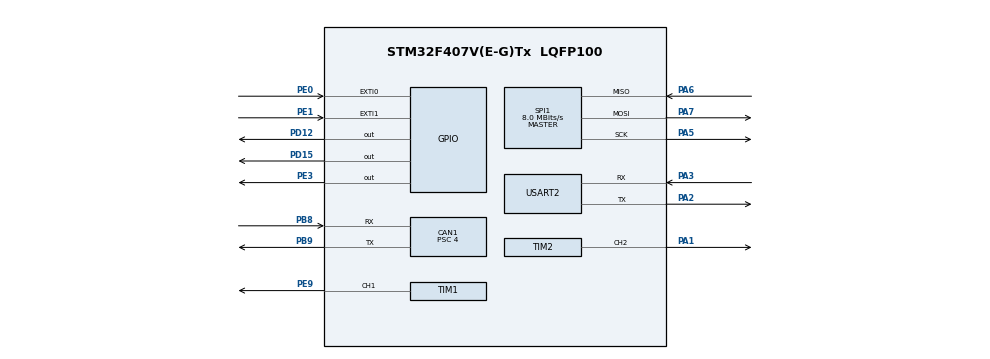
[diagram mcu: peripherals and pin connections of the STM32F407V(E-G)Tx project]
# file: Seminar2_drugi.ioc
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CAN1.BS1=CAN_BS1_13TQ
CAN1.BS2=CAN_BS2_2TQ
CAN1.CalculateBaudRate=500000
CAN1.CalculateTimeBit=2000
CAN1.CalculateTimeQuantum=125.0
CAN1.NART=ENABLE
CAN1.Prescaler=4
Dma.Request0=TIM1_CH1
Dma.TIM1_CH1.0.Direction=DMA_MEMORY_TO_PERIPH
Dma.TIM1_CH1.0.FIFOMode=DMA_FIFOMODE_DISABLE
Dma.TIM1_CH1.0.Instance=DMA2_Stream1
Dma.TIM1_CH1.0.MemDataAlignment=DMA_MDATAALIGN_HALFWORD
Dma.TIM1_CH1.0.MemInc=DMA_MINC_ENABLE
Dma.TIM1_CH1.0.Mode=DMA_NORMAL
Dma.TIM1_CH1.0.PeriphDataAlignment=DMA_PDATAALIGN_HALFWORD
Dma.TIM1_CH1.0.PeriphInc=DMA_PINC_DISABLE
Dma.TIM1_CH1.0.Priority=DMA_PRIORITY_LOW
Mcu.Family=STM32F4
Mcu.Name=STM32F407V(E-G)Tx
Mcu.Package=LQFP100
NVIC.CAN1_RX0_IRQn=true\:0\:0\:false\:false\:true\:true\:true\:true
NVIC.CAN1_RX1_IRQn=true\:0\:0\:false\:false\:true\:true\:true\:true
NVIC.CAN1_TX_IRQn=true\:0\:0\:false\:false\:true\:true\:true\:true
NVIC.DMA2_Stream1_IRQn=true\:0\:0\:false\:false\:true\:false\:true\:true
NVIC.EXTI0_IRQn=true\:0\:0\:false\:false\:true\:true\:true\:true
NVIC.EXTI1_IRQn=true\:0\:0\:false\:false\:true\:true\:true\:true
NVIC.PriorityGroup=NVIC_PRIORITYGROUP_0
PA1.Signal=S_TIM2_CH2
PA2.Mode=Asynchronous
PA2.Signal=USART2_TX
PA3.Mode=Asynchronous
PA3.Signal=USART2_RX
PA5.Mode=Full_Duplex_Master
PA5.Signal=SPI1_SCK
PA6.Mode=Full_Duplex_Master
PA6.Signal=SPI1_MISO
PA7.Mode=Full_Duplex_Master
PA7.Signal=SPI1_MOSI
PB8.Mode=CAN_Activate
PB8.Signal=CAN1_RX
PB9.Mode=CAN_Activate
PB9.Signal=CAN1_TX
PD12.Signal=GPIO_Output
PD15.Signal=GPIO_Output
PE0.Signal=GPXTI0
PE1.Signal=GPXTI1
PE3.Signal=GPIO_Output
PE9.Signal=S_TIM1_CH1
PH0-OSC_IN.Mode=HSE-External-Oscillator
PH0-OSC_IN.Signal=RCC_OSC_IN
PH1-OSC_OUT.Mode=HSE-External-Oscillator
PH1-OSC_OUT.Signal=RCC_OSC_OUT
ProjectManager.HeapSize=0x200
ProjectManager.StackSize=0x400
ProjectManager.TargetToolchain=STM32CubeIDE
RCC.48MHZClocksFreq_Value=18285714.285714287
RCC.AHBFreq_Value=64000000
RCC.APB1CLKDivider=RCC_HCLK_DIV2
RCC.APB1Freq_Value=32000000
RCC.APB1TimFreq_Value=64000000
RCC.APB2CLKDivider=RCC_HCLK_DIV4
RCC.APB2Freq_Value=16000000
RCC.APB2TimFreq_Value=32000000
RCC.CortexFreq_Value=64000000
RCC.HCLKFreq_Value=64000000
RCC.HSE_VALUE=8000000
RCC.HSI_VALUE=16000000
RCC.LSE_VALUE=32768
RCC.PLLM=4
RCC.PLLN=64
RCC.PLLQ=7
RCC.PLLSourceVirtual=RCC_PLLSOURCE_HSE
RCC.SYSCLKFreq_VALUE=64000000
RCC.SYSCLKSource=RCC_SYSCLKSOURCE_PLLCLK
RCC.VCOOutputFreq_Value=128000000
SH.S_TIM1_CH1.0=TIM1_CH1,PWM Generation1 CH1
SH.S_TIM2_CH2.0=TIM2_CH2,Output Compare2 CH2
SPI1.CalculateBaudRate=8.0 MBits/s
SPI1.Direction=SPI_DIRECTION_2LINES
SPI1.Mode=SPI_MODE_MASTER
SPI1.VirtualType=VM_MASTER
TIM1.Channel-PWM\ Generation1\ CH1=TIM_CHANNEL_1
TIM1.Period=1000-1
TIM1.Prescaler=640-1
TIM2.Channel-Output\ Compare2\ CH2=TIM_CHANNEL_2
TIM2.Period=100000-1
TIM2.Prescaler=640-1
USART2.VirtualMode=VM_ASYNC
VP_TIM1_VS_ClockSourceINT.Mode=Internal
VP_TIM2_VS_ClockSourceINT.Mode=Internal
board=STM32F407G-DISC1

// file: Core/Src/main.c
/* USER CODE BEGIN Header */
/**
 ******************************************************************************
 * @file           : main.c
 * @brief          : Main program body
 ******************************************************************************
 * @attention
 *
 * Copyright (c) 2024 STMicroelectronics.
 * All rights reserved.
 *
 * This software is licensed under terms that can be found in the LICENSE file
 * in the root directory of this software component.
 * If no LICENSE file comes with this software, it is provided AS-IS.
 *
 ******************************************************************************
 */
/* USER CODE END Header */
#include "main.h"
#include "poruke.h"
#include "spi_funkcije.h"
#include <stdio.h>

CAN_HandleTypeDef hcan1;

SPI_HandleTypeDef hspi1;

TIM_HandleTypeDef htim1;
TIM_HandleTypeDef htim2;
DMA_HandleTypeDef hdma_tim1_ch1;

UART_HandleTypeDef huart2;
uint32_t prim = 0;
/* USER CODE BEGIN PV */
CAN_RxHeaderTypeDef RxHeader;
CAN_TxHeaderTypeDef TxHeader1;
uint8_t txData[8];
uint8_t rxData[8];
uint8_t xData;
uint8_t yData;
uint8_t zData;
uint32_t TxMailbox[3];
/* USER CODE END PV */
uint32_t gotovo = 0;
uint32_t preemp = 5;
uint32_t subprio = 5;
uint32_t slobodan = 0;
uint32_t vrijednost_registra = 0;
uint32_t statusMailbox = 0;
uint8_t arr[3];
uint32_t cnt = 0;
void SystemClock_Config(void);
static void MX_GPIO_Init(void);
static void MX_DMA_Init(void);
static void MX_TIM1_Init(void);
static void MX_CAN1_Init(void);
static void MX_USART2_UART_Init(void);
static void MX_SPI1_Init(void);
static void MX_TIM2_Init(void);
void napraviPoruku(CAN_TxHeaderTypeDef *TxHeader, uint32_t broj);
void posaljiPoruku(CAN_TxHeaderTypeDef *TxHeader, uint8_t brojMailboxa);
void konfigurirajPoruke(void);
void vrtiServoMotor(void);
void posaljiPorukuUSlobodanMailbox(CAN_TxHeaderTypeDef *poruka);
void myDelay(uint32_t t);
void MEMS_Write(uint8_t address, uint8_t data);
void MEMS_Read(uint8_t address, uint8_t *data);
void upaliLED1(void);
void upaliLED2(void);
void posaljiPodatkeSaSenzora(void);
/* USER CODE BEGIN PFP */
int _write(int file, char *ptr, int len) {

	HAL_UART_Transmit(&huart2, (uint8_t*) ptr, len, HAL_MAX_DELAY);
	return len;
}
/* USER CODE END PFP */

/* USER CODE BEGIN 0 */
void HAL_CAN_RxFifo0MsgPendingCallback(CAN_HandleTypeDef *hcan) {

	HAL_CAN_GetRxMessage(hcan, CAN_RX_FIFO0, &RxHeader, rxData);
//	TIM1->CCR1 = 121;
//	printf("Desno\r\n");
//	HAL_Delay(500);

}
/* USER CODE END 0 */

int main(void) {

	/* MCU Configuration--------------------------------------------------------*/

	/* Reset of all peripherals, Initializes the Flash interface and the Systick. */
	HAL_Init();

	/* Configure the system clock */
	SystemClock_Config();

	/* Initialize all configured peripherals */
	MX_GPIO_Init();
	MX_DMA_Init();
	MX_TIM1_Init();
	MX_CAN1_Init();
	MX_USART2_UART_Init();
	MX_SPI1_Init();
	MX_TIM2_Init();

	//  gotovo = HAL_NVIC_GetPriorityGrouping();
	//  HAL_NVIC_GetPriority(SysTick_IRQn, 3, &preemp, &subprio);
	//  HAL_NVIC_GetPriority(CAN1_RX0_IRQn, 3, &preemp, &subprio);

	konfigurirajPoruke();

	HAL_CAN_Start(&hcan1);
	HAL_CAN_ActivateNotification(&hcan1, CAN_IT_RX_FIFO0_MSG_PENDING);

	TIM1->CCR1 = 88;
	HAL_TIM_PWM_Start(&htim1, TIM_CHANNEL_1);
	//posaljiPoruku(&masterdrugaPoruka, 0);
	while (1) {

		do {
			__disable_irq();
			switch (RxHeader.StdId) {

			case 0x700:
				vrtiServoMotor();
				posaljiPorukuUSlobodanMailbox(&prvaPoruka);
				break;

			case 0x701:
				upaliLED1();
				posaljiPorukuUSlobodanMailbox(&drugaPoruka);
				break;

			case 0x702:
				upaliLED2();
				posaljiPorukuUSlobodanMailbox(&trecaPoruka);
				break;

			case 0x703:
				posaljiPodatkeSaSenzora();
				posaljiPorukuUSlobodanMailbox(&cetvrtaPoruka);
				break;
			}

			__enable_irq();

		} while (HAL_CAN_GetTxMailboxesFreeLevel(&hcan1) > 0);

	}
}

void myDelay(uint32_t t) {

	HAL_TIM_Base_Start(&htim2);
	while ((htim2.Instance->CNT) < (t * 100) - 1)
		;
	HAL_TIM_Base_Stop(&htim2);
	htim2.Instance->CNT = 0;

}

void posaljiPorukuUSlobodanMailbox(CAN_TxHeaderTypeDef *poruka) {
	uint32_t statusMailbox = hcan1.Instance->TSR;
	uint32_t stanje = ((statusMailbox & (7 << 26)) >> 26);

	do {

		switch (stanje) {

		case 1:
			posaljiPoruku(poruka, 0);
			break;

		case 2:
			posaljiPoruku(poruka, 1);
			break;

		case 3:
			posaljiPoruku(poruka, 0);
			break;
		case 4:
			posaljiPoruku(poruka, 2);
			break;
		case 5:
			posaljiPoruku(poruka, 2);
			break;

		case 6:
			posaljiPoruku(poruka, 1);
			break;
		case 7:
			posaljiPoruku(poruka, 0);
			break;
		}
		stanje -= stanje;
	} while (stanje);

}

	void vrtiServoMotor(void) {

		TIM1->CCR1 = 88;
		printf("Sredina\r\n");
		myDelay(500);
		TIM1->CCR1 = 55;
		printf("Lijevo\r\n");
		myDelay(500);
		TIM1->CCR1 = 121;
		printf("Desno\r\n");
		myDelay(500);

	}

	void upaliLED1(void) {

		HAL_GPIO_TogglePin(GPIOD, GPIO_PIN_15);
		myDelay((rxData[0] * 1000) / 255);

	}

	void upaliLED2(void) {

		HAL_GPIO_TogglePin(GPIOD, GPIO_PIN_12);
		myDelay((rxData[0] * 1000) / 255);

	}

	void posaljiPodatkeSaSenzora(void) {

		MEMS_Read(LIS302DL_OUT_X_ADDR, &xData);
		MEMS_Read(LIS302DL_OUT_Y_ADDR, &yData);
		MEMS_Read(LIS302DL_OUT_Z_ADDR, &zData);
		txData[0] = xData;
		txData[1] = yData;
		txData[2] = zData;
		myDelay(100);

	}

//void napraviPoruku(CAN_TxHeaderTypeDef *TxHeader,uint32_t broj) {
//
//	 TxHeader -> StdId = broj;
//	 TxHeader -> ExtId = 0;
//	 TxHeader -> IDE = CAN_ID_STD;
//	 TxHeader -> RTR = CAN_RTR_DATA;
//	 TxHeader -> DLC = 1;
//	 TxHeader -> TransmitGlobalTime = DISABLE;
//
//}

//void posaljiPoruku (CAN_TxHeaderTypeDef *TxHeader,uint8_t brojMailboxa) {
//
//	if(HAL_CAN_AddTxMessage(&hcan1, TxHeader, txData, &TxMailbox[brojMailboxa]) != HAL_OK) {
//		Error_Handler();
//	};
//}

	void konfigurirajPoruke(void) {

		napraviPoruku(&prvaPoruka, 0x600);
		napraviPoruku(&drugaPoruka, 0x601);
		napraviPoruku(&trecaPoruka, 0x602);
		napraviPoruku(&cetvrtaPoruka, 0x603);
		napraviPoruku(&masterprvaPoruka, 0x700);
		napraviPoruku(&masterdrugaPoruka, 0x701);
		napraviPoruku(&mastertrecaPoruka, 0x702);
		napraviPoruku(&mastercetvrtaPoruka, 0x703);

	}

	void SystemClock_Config(void) {
		RCC_OscInitTypeDef RCC_OscInitStruct = { 0 };
		RCC_ClkInitTypeDef RCC_ClkInitStruct = { 0 };

		/** Configure the main internal regulator output voltage
		 */
		__HAL_RCC_PWR_CLK_ENABLE();
		__HAL_PWR_VOLTAGESCALING_CONFIG(PWR_REGULATOR_VOLTAGE_SCALE1);

		/** Initializes the RCC Oscillators according to the specified parameters
		 * in the RCC_OscInitTypeDef structure.
		 */
		RCC_OscInitStruct.OscillatorType = RCC_OSCILLATORTYPE_HSE;
		RCC_OscInitStruct.HSEState = RCC_HSE_ON;
		RCC_OscInitStruct.PLL.PLLState = RCC_PLL_ON;
		RCC_OscInitStruct.PLL.PLLSource = RCC_PLLSOURCE_HSE;
		RCC_OscInitStruct.PLL.PLLM = 4;
		RCC_OscInitStruct.PLL.PLLN = 64;
		RCC_OscInitStruct.PLL.PLLP = RCC_PLLP_DIV2;
		RCC_OscInitStruct.PLL.PLLQ = 7;
		if (HAL_RCC_OscConfig(&RCC_OscInitStruct) != HAL_OK) {
			Error_Handler();
		}

		/** Initializes the CPU, AHB and APB buses clocks
		 */
		RCC_ClkInitStruct.ClockType = RCC_CLOCKTYPE_HCLK | RCC_CLOCKTYPE_SYSCLK
				| RCC_CLOCKTYPE_PCLK1 | RCC_CLOCKTYPE_PCLK2;
		RCC_ClkInitStruct.SYSCLKSource = RCC_SYSCLKSOURCE_PLLCLK;
		RCC_ClkInitStruct.AHBCLKDivider = RCC_SYSCLK_DIV1;
		RCC_ClkInitStruct.APB1CLKDivider = RCC_HCLK_DIV2;
		RCC_ClkInitStruct.APB2CLKDivider = RCC_HCLK_DIV4;

		if (HAL_RCC_ClockConfig(&RCC_ClkInitStruct, FLASH_LATENCY_2)
				!= HAL_OK) {
			Error_Handler();
		}
	}

	/**
	 * @brief CAN1 Initialization Function
	 * @param None
	 * @retval None
	 */
	static void MX_CAN1_Init(void) {

		hcan1.Instance = CAN1;
		hcan1.Init.Prescaler = 4;
		hcan1.Init.Mode = CAN_MODE_NORMAL;
		hcan1.Init.SyncJumpWidth = CAN_SJW_1TQ;
		hcan1.Init.TimeSeg1 = CAN_BS1_13TQ;
		hcan1.Init.TimeSeg2 = CAN_BS2_2TQ;
		hcan1.Init.TimeTriggeredMode = DISABLE;
		hcan1.Init.AutoBusOff = DISABLE;
		hcan1.Init.AutoWakeUp = DISABLE;
		hcan1.Init.AutoRetransmission = ENABLE;
		hcan1.Init.ReceiveFifoLocked = DISABLE;
		hcan1.Init.TransmitFifoPriority = DISABLE;
		if (HAL_CAN_Init(&hcan1) != HAL_OK) {
			Error_Handler();
		}
		/* USER CODE BEGIN CAN1_Init 2 */
		CAN_FilterTypeDef filter;
		filter.FilterIdHigh = (0x600 << 5);
		filter.FilterIdLow = 0x0;
		filter.FilterMaskIdHigh = (0x600 << 5);
		filter.FilterMaskIdLow = 0x0;
		filter.FilterFIFOAssignment = CAN_FILTER_FIFO0;
		filter.FilterBank = 5;
		filter.FilterMode = CAN_FILTERMODE_IDMASK;
		filter.FilterScale = CAN_FILTERSCALE_32BIT;
		filter.FilterActivation = CAN_FILTER_ENABLE;
		filter.SlaveStartFilterBank = 0;
		if (HAL_CAN_ConfigFilter(&hcan1, &filter) != HAL_OK) {

			Error_Handler();

		}
		/* USER CODE END CAN1_Init 2 */

	}

	/**
	 * @brief SPI1 Initialization Function
	 * @param None
	 * @retval None
	 */
	static void MX_SPI1_Init(void) {

		/* SPI1 parameter configuration*/
		hspi1.Instance = SPI1;
		hspi1.Init.Mode = SPI_MODE_MASTER;
		hspi1.Init.Direction = SPI_DIRECTION_2LINES;
		hspi1.Init.DataSize = SPI_DATASIZE_8BIT;
		hspi1.Init.CLKPolarity = SPI_POLARITY_LOW;
		hspi1.Init.CLKPhase = SPI_PHASE_1EDGE;
		hspi1.Init.NSS = SPI_NSS_SOFT;
		hspi1.Init.BaudRatePrescaler = SPI_BAUDRATEPRESCALER_2;
		hspi1.Init.FirstBit = SPI_FIRSTBIT_MSB;
		hspi1.Init.TIMode = SPI_TIMODE_DISABLE;
		hspi1.Init.CRCCalculation = SPI_CRCCALCULATION_DISABLE;
		hspi1.Init.CRCPolynomial = 10;
		if (HAL_SPI_Init(&hspi1) != HAL_OK) {
			Error_Handler();
		}
		/* USER CODE BEGIN SPI1_Init 2 */
		//Konfiguriraj akcelerometar za čitanje podataka sa senzora
		MEMS_Write(LIS302DL_CTRL_REG1_ADDR, 0x47);

		/* USER CODE END SPI1_Init 2 */

	}

	/**
	 * @brief TIM1 Initialization Function
	 * @param None
	 * @retval None
	 */
	static void MX_TIM1_Init(void) {

		TIM_ClockConfigTypeDef sClockSourceConfig = { 0 };
		TIM_MasterConfigTypeDef sMasterConfig = { 0 };
		TIM_OC_InitTypeDef sConfigOC = { 0 };
		TIM_BreakDeadTimeConfigTypeDef sBreakDeadTimeConfig = { 0 };

		htim1.Instance = TIM1;
		htim1.Init.Prescaler = 640 - 1;
		htim1.Init.CounterMode = TIM_COUNTERMODE_UP;
		htim1.Init.Period = 1000 - 1;
		htim1.Init.ClockDivision = TIM_CLOCKDIVISION_DIV1;
		htim1.Init.RepetitionCounter = 0;
		htim1.Init.AutoReloadPreload = TIM_AUTORELOAD_PRELOAD_DISABLE;
		if (HAL_TIM_Base_Init(&htim1) != HAL_OK) {
			Error_Handler();
		}
		sClockSourceConfig.ClockSource = TIM_CLOCKSOURCE_INTERNAL;
		if (HAL_TIM_ConfigClockSource(&htim1, &sClockSourceConfig) != HAL_OK) {
			Error_Handler();
		}
		if (HAL_TIM_PWM_Init(&htim1) != HAL_OK) {
			Error_Handler();
		}
		sMasterConfig.MasterOutputTrigger = TIM_TRGO_RESET;
		sMasterConfig.MasterSlaveMode = TIM_MASTERSLAVEMODE_DISABLE;
		if (HAL_TIMEx_MasterConfigSynchronization(&htim1, &sMasterConfig)
				!= HAL_OK) {
			Error_Handler();
		}
		sConfigOC.OCMode = TIM_OCMODE_PWM1;
		sConfigOC.Pulse = 0;
		sConfigOC.OCPolarity = TIM_OCPOLARITY_HIGH;
		sConfigOC.OCNPolarity = TIM_OCNPOLARITY_HIGH;
		sConfigOC.OCFastMode = TIM_OCFAST_DISABLE;
		sConfigOC.OCIdleState = TIM_OCIDLESTATE_RESET;
		sConfigOC.OCNIdleState = TIM_OCNIDLESTATE_RESET;
		if (HAL_TIM_PWM_ConfigChannel(&htim1, &sConfigOC, TIM_CHANNEL_1)
				!= HAL_OK) {
			Error_Handler();
		}
		sBreakDeadTimeConfig.OffStateRunMode = TIM_OSSR_DISABLE;
		sBreakDeadTimeConfig.OffStateIDLEMode = TIM_OSSI_DISABLE;
		sBreakDeadTimeConfig.LockLevel = TIM_LOCKLEVEL_OFF;
		sBreakDeadTimeConfig.DeadTime = 0;
		sBreakDeadTimeConfig.BreakState = TIM_BREAK_DISABLE;
		sBreakDeadTimeConfig.BreakPolarity = TIM_BREAKPOLARITY_HIGH;
		sBreakDeadTimeConfig.AutomaticOutput = TIM_AUTOMATICOUTPUT_DISABLE;
		if (HAL_TIMEx_ConfigBreakDeadTime(&htim1, &sBreakDeadTimeConfig)
				!= HAL_OK) {
			Error_Handler();
		}
		HAL_TIM_MspPostInit(&htim1);

	}

	/**
	 * @brief TIM2 Initialization Function
	 * @param None
	 * @retval None
	 */
	static void MX_TIM2_Init(void) {

		TIM_ClockConfigTypeDef sClockSourceConfig = { 0 };
		TIM_MasterConfigTypeDef sMasterConfig = { 0 };
		TIM_OC_InitTypeDef sConfigOC = { 0 };

		htim2.Instance = TIM2;
		htim2.Init.Prescaler = 640 - 1;
		htim2.Init.CounterMode = TIM_COUNTERMODE_UP;
		htim2.Init.Period = 100000 - 1;
		htim2.Init.ClockDivision = TIM_CLOCKDIVISION_DIV1;
		htim2.Init.AutoReloadPreload = TIM_AUTORELOAD_PRELOAD_DISABLE;
		if (HAL_TIM_Base_Init(&htim2) != HAL_OK) {
			Error_Handler();
		}
		sClockSourceConfig.ClockSource = TIM_CLOCKSOURCE_INTERNAL;
		if (HAL_TIM_ConfigClockSource(&htim2, &sClockSourceConfig) != HAL_OK) {
			Error_Handler();
		}
		if (HAL_TIM_OC_Init(&htim2) != HAL_OK) {
			Error_Handler();
		}
		sMasterConfig.MasterOutputTrigger = TIM_TRGO_RESET;
		sMasterConfig.MasterSlaveMode = TIM_MASTERSLAVEMODE_DISABLE;
		if (HAL_TIMEx_MasterConfigSynchronization(&htim2, &sMasterConfig)
				!= HAL_OK) {
			Error_Handler();
		}
		sConfigOC.OCMode = TIM_OCMODE_TIMING;
		sConfigOC.Pulse = 0;
		sConfigOC.OCPolarity = TIM_OCPOLARITY_HIGH;
		sConfigOC.OCFastMode = TIM_OCFAST_DISABLE;
		if (HAL_TIM_OC_ConfigChannel(&htim2, &sConfigOC, TIM_CHANNEL_2)
				!= HAL_OK) {
			Error_Handler();
		}
		HAL_TIM_MspPostInit(&htim2);

	}

	/**
	 * @brief USART2 Initialization Function
	 * @param None
	 * @retval None
	 */
	static void MX_USART2_UART_Init(void) {

		huart2.Instance = USART2;
		huart2.Init.BaudRate = 115200;
		huart2.Init.WordLength = UART_WORDLENGTH_8B;
		huart2.Init.StopBits = UART_STOPBITS_1;
		huart2.Init.Parity = UART_PARITY_NONE;
		huart2.Init.Mode = UART_MODE_TX_RX;
		huart2.Init.HwFlowCtl = UART_HWCONTROL_NONE;
		huart2.Init.OverSampling = UART_OVERSAMPLING_16;
		if (HAL_UART_Init(&huart2) != HAL_OK) {
			Error_Handler();
		}

	}

	/**
	 * Enable DMA controller clock
	 */
	static void MX_DMA_Init(void) {

		/* DMA controller clock enable */
		__HAL_RCC_DMA2_CLK_ENABLE();

		/* DMA interrupt init */
		/* DMA2_Stream1_IRQn interrupt configuration */
		HAL_NVIC_SetPriority(DMA2_Stream1_IRQn, 0, 0);
		HAL_NVIC_EnableIRQ(DMA2_Stream1_IRQn);

	}

	/**
	 * @brief GPIO Initialization Function
	 * @param None
	 * @retval None
	 */
	static void MX_GPIO_Init(void) {
		GPIO_InitTypeDef GPIO_InitStruct = { 0 };

		/* GPIO Ports Clock Enable */
		__HAL_RCC_GPIOE_CLK_ENABLE();
		__HAL_RCC_GPIOH_CLK_ENABLE();
		__HAL_RCC_GPIOA_CLK_ENABLE();
		__HAL_RCC_GPIOD_CLK_ENABLE();
		__HAL_RCC_GPIOB_CLK_ENABLE();

		/*Configure GPIO pin Output Level */
		HAL_GPIO_WritePin(GPIOE, GPIO_PIN_3, GPIO_PIN_SET);

		/*Configure GPIO pin Output Level */
		HAL_GPIO_WritePin(GPIOD, GPIO_PIN_12 | GPIO_PIN_15, GPIO_PIN_RESET);

		/*Configure GPIO pin : PE3 */
		GPIO_InitStruct.Pin = GPIO_PIN_3;
		GPIO_InitStruct.Mode = GPIO_MODE_OUTPUT_PP;
		GPIO_InitStruct.Pull = GPIO_NOPULL;
		GPIO_InitStruct.Speed = GPIO_SPEED_FREQ_LOW;
		HAL_GPIO_Init(GPIOE, &GPIO_InitStruct);

		/*Configure GPIO pins : PD12 PD15 */
		GPIO_InitStruct.Pin = GPIO_PIN_12 | GPIO_PIN_15;
		GPIO_InitStruct.Mode = GPIO_MODE_OUTPUT_PP;
		GPIO_InitStruct.Pull = GPIO_NOPULL;
		GPIO_InitStruct.Speed = GPIO_SPEED_FREQ_LOW;
		HAL_GPIO_Init(GPIOD, &GPIO_InitStruct);

		/*Configure GPIO pins : PE0 PE1 */
		GPIO_InitStruct.Pin = GPIO_PIN_0 | GPIO_PIN_1;
		GPIO_InitStruct.Mode = GPIO_MODE_IT_RISING;
		GPIO_InitStruct.Pull = GPIO_NOPULL;
		HAL_GPIO_Init(GPIOE, &GPIO_InitStruct);

		/* EXTI interrupt init*/
		HAL_NVIC_SetPriority(EXTI0_IRQn, 0, 0);
		HAL_NVIC_EnableIRQ(EXTI0_IRQn);

		HAL_NVIC_SetPriority(EXTI1_IRQn, 0, 0);
		HAL_NVIC_EnableIRQ(EXTI1_IRQn);

	}

	/**
	 * @brief  This function is executed in case of error occurrence.
	 * @retval None
	 */
	void Error_Handler(void) {
		__disable_irq();
		while (1) {
		}
	}
